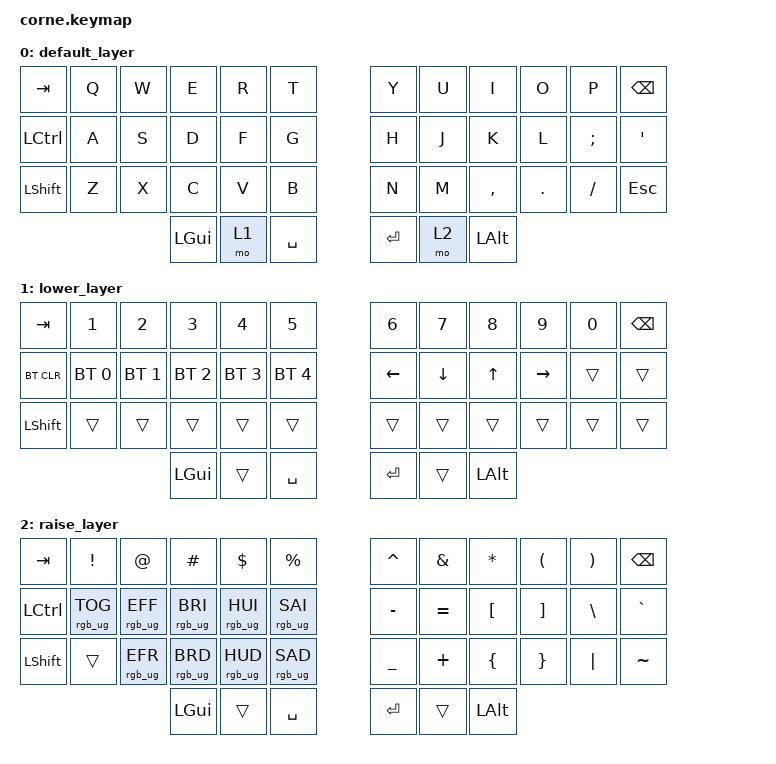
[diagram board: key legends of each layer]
#include <behaviors.dtsi>
#include <dt-bindings/zmk/keys.h>
#include <dt-bindings/zmk/bt.h>
#include <dt-bindings/zmk/rgb.h>

/ {
    keymap {
        compatible = "zmk,keymap";

        default_layer {
            bindings = <
&kp TAB   &kp Q &kp W &kp E &kp R &kp T    &kp Y &kp U  &kp I     &kp O   &kp P    &kp BSPC
&kp LCTRL &kp A &kp S &kp D &kp F &kp G    &kp H &kp J  &kp K     &kp L   &kp SCLN &kp SQT
&kp LSHFT &kp Z &kp X &kp C &kp V &kp B    &kp N &kp M  &kp COMMA &kp DOT &kp FSLH &kp ESC
                    &kp LGUI &mo 1 &kp SPACE   &kp RET &mo 2 &kp LALT
            >;
        };

        lower_layer {
            bindings = <
&kp TAB    &kp N1       &kp N2       &kp N3       &kp N4       &kp N5         &kp N6   &kp N7   &kp N8 &kp N9    &kp N0 &kp BSPC
&bt BT_CLR &bt BT_SEL 0 &bt BT_SEL 1 &bt BT_SEL 2 &bt BT_SEL 3 &bt BT_SEL 4   &kp LEFT &kp DOWN &kp UP &kp RIGHT &trans &trans
&kp LSHFT  &trans       &trans       &trans       &trans       &trans         &trans   &trans   &trans &trans    &trans &trans
                                     &kp LGUI     &trans       &kp SPACE      &kp RET  &trans   &kp LALT
            >;
        };

        raise_layer {
            bindings = <
&kp TAB   &kp EXCL        &kp AT          &kp HASH        &kp DLLR        &kp PRCNT         &kp CARET &kp AMPS  &kp ASTRK &kp LPAR &kp RPAR &kp BSPC
&kp LCTRL &rgb_ug RGB_TOG &rgb_ug RGB_EFF &rgb_ug RGB_BRI &rgb_ug RGB_HUI &rgb_ug RGB_SAI   &kp MINUS &kp EQUAL &kp LBKT  &kp RBKT &kp BSLH &kp GRAVE
&kp LSHFT &trans          &rgb_ug RGB_EFR &rgb_ug RGB_BRD &rgb_ug RGB_HUD &rgb_ug RGB_SAD   &kp UNDER &kp PLUS  &kp LBRC  &kp RBRC &kp PIPE &kp TILDE
                                          &kp LGUI        &trans          &kp SPACE         &kp RET   &trans    &kp LALT
            >;
        };
    };
};
